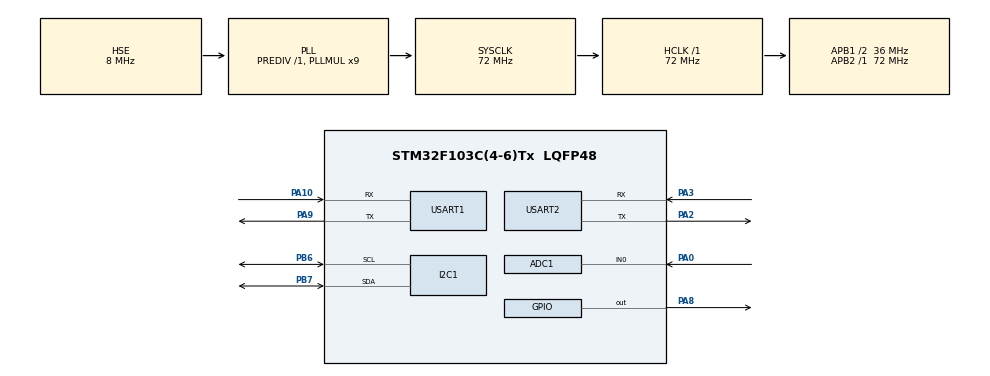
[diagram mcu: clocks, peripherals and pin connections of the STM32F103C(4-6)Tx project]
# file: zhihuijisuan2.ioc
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ADC1.Channel-0\#ChannelRegularConversion=ADC_CHANNEL_0
ADC1.NbrOfConversionFlag=1
ADC1.Rank-0\#ChannelRegularConversion=1
ADC1.SamplingTime-0\#ChannelRegularConversion=ADC_SAMPLETIME_1CYCLE_5
ADC1.master=1
Dma.Request0=USART1_RX
Dma.Request1=USART1_TX
Dma.Request2=USART2_RX
Dma.Request3=USART2_TX
Dma.USART1_RX.0.Direction=DMA_PERIPH_TO_MEMORY
Dma.USART1_RX.0.Instance=DMA1_Channel5
Dma.USART1_RX.0.MemDataAlignment=DMA_MDATAALIGN_BYTE
Dma.USART1_RX.0.MemInc=DMA_MINC_ENABLE
Dma.USART1_RX.0.Mode=DMA_NORMAL
Dma.USART1_RX.0.PeriphDataAlignment=DMA_PDATAALIGN_BYTE
Dma.USART1_RX.0.PeriphInc=DMA_PINC_DISABLE
Dma.USART1_RX.0.Priority=DMA_PRIORITY_LOW
Dma.USART1_TX.1.Direction=DMA_MEMORY_TO_PERIPH
Dma.USART1_TX.1.Instance=DMA1_Channel4
Dma.USART1_TX.1.MemDataAlignment=DMA_MDATAALIGN_BYTE
Dma.USART1_TX.1.MemInc=DMA_MINC_ENABLE
Dma.USART1_TX.1.Mode=DMA_NORMAL
Dma.USART1_TX.1.PeriphDataAlignment=DMA_PDATAALIGN_BYTE
Dma.USART1_TX.1.PeriphInc=DMA_PINC_DISABLE
Dma.USART1_TX.1.Priority=DMA_PRIORITY_LOW
Dma.USART2_RX.2.Direction=DMA_PERIPH_TO_MEMORY
Dma.USART2_RX.2.Instance=DMA1_Channel6
Dma.USART2_RX.2.MemDataAlignment=DMA_MDATAALIGN_BYTE
Dma.USART2_RX.2.MemInc=DMA_MINC_ENABLE
Dma.USART2_RX.2.Mode=DMA_NORMAL
Dma.USART2_RX.2.PeriphDataAlignment=DMA_PDATAALIGN_BYTE
Dma.USART2_RX.2.PeriphInc=DMA_PINC_DISABLE
Dma.USART2_RX.2.Priority=DMA_PRIORITY_LOW
Dma.USART2_TX.3.Direction=DMA_MEMORY_TO_PERIPH
Dma.USART2_TX.3.Instance=DMA1_Channel7
Dma.USART2_TX.3.MemDataAlignment=DMA_MDATAALIGN_BYTE
Dma.USART2_TX.3.MemInc=DMA_MINC_ENABLE
Dma.USART2_TX.3.Mode=DMA_NORMAL
Dma.USART2_TX.3.PeriphDataAlignment=DMA_PDATAALIGN_BYTE
Dma.USART2_TX.3.PeriphInc=DMA_PINC_DISABLE
Dma.USART2_TX.3.Priority=DMA_PRIORITY_LOW
Mcu.Family=STM32F1
Mcu.Name=STM32F103C(4-6)Tx
Mcu.Package=LQFP48
NVIC.DMA1_Channel4_IRQn=true\:0\:0\:false\:false\:true\:false\:true\:true
NVIC.DMA1_Channel5_IRQn=true\:0\:0\:false\:false\:true\:false\:true\:true
NVIC.DMA1_Channel6_IRQn=true\:0\:0\:false\:false\:true\:false\:true\:true
NVIC.DMA1_Channel7_IRQn=true\:0\:0\:false\:false\:true\:false\:true\:true
NVIC.PriorityGroup=NVIC_PRIORITYGROUP_4
NVIC.USART1_IRQn=true\:0\:0\:false\:false\:true\:true\:true\:true
NVIC.USART2_IRQn=true\:0\:0\:false\:false\:true\:true\:true\:true
PA0-WKUP.Signal=ADCx_IN0
PA10.Mode=Asynchronous
PA10.Signal=USART1_RX
PA13.Mode=Serial_Wire
PA13.Signal=SYS_JTMS-SWDIO
PA14.Mode=Serial_Wire
PA14.Signal=SYS_JTCK-SWCLK
PA2.Mode=Asynchronous
PA2.Signal=USART2_TX
PA3.Mode=Asynchronous
PA3.Signal=USART2_RX
PA8.Signal=GPIO_Output
PA9.Mode=Asynchronous
PA9.Signal=USART1_TX
PB6.Mode=I2C
PB6.Signal=I2C1_SCL
PB7.Mode=I2C
PB7.Signal=I2C1_SDA
PC14-OSC32_IN.Mode=LSE-External-Oscillator
PC14-OSC32_IN.Signal=RCC_OSC32_IN
PC15-OSC32_OUT.Mode=LSE-External-Oscillator
PC15-OSC32_OUT.Signal=RCC_OSC32_OUT
PD0-OSC_IN.Mode=HSE-External-Oscillator
PD0-OSC_IN.Signal=RCC_OSC_IN
PD1-OSC_OUT.Mode=HSE-External-Oscillator
PD1-OSC_OUT.Signal=RCC_OSC_OUT
ProjectManager.HeapSize=0x200
ProjectManager.StackSize=0x400
ProjectManager.TargetToolchain=CMake
RCC.ADCPresc=RCC_ADCPCLK2_DIV6
RCC.AHBFreq_Value=72000000
RCC.APB1CLKDivider=RCC_HCLK_DIV2
RCC.APB1Freq_Value=36000000
RCC.APB1TimFreq_Value=72000000
RCC.APB2Freq_Value=72000000
RCC.APB2TimFreq_Value=72000000
RCC.HCLKFreq_Value=72000000
RCC.PLLMUL=RCC_PLL_MUL9
RCC.PLLSourceVirtual=RCC_PLLSOURCE_HSE
RCC.SYSCLKFreq_VALUE=72000000
RCC.SYSCLKSource=RCC_SYSCLKSOURCE_PLLCLK
RCC.USBFreq_Value=72000000
SH.ADCx_IN0.0=ADC1_IN0,IN0
USART1.VirtualMode=VM_ASYNC
USART2.VirtualMode=VM_ASYNC
board=custom

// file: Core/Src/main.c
/* USER CODE BEGIN Header */
/**
  ******************************************************************************
  * @file           : main.c
  * @brief          : Main program body
  ******************************************************************************
  * @attention
  *
  * Copyright (c) 2026 STMicroelectronics.
  * All rights reserved.
  *
  * This software is licensed under terms that can be found in the LICENSE file
  * in the root directory of this software component.
  * If no LICENSE file comes with this software, it is provided AS-IS.
  *
  ******************************************************************************
  */
/* USER CODE END Header */
#include "main.h"
#include "adc.h"
#include "dma.h"
#include "i2c.h"
#include "usart.h"
#include "gpio.h"

/* USER CODE BEGIN Includes */
#include <string.h>
#include <stdio.h>
#include <stdlib.h>
#include <stdbool.h>
#include <stdarg.h>
#include "dht11.h"
#include "bh1750.h"
/* USER CODE END Includes */

/* USER CODE BEGIN PV */
// DMA句柄外部声明
extern DMA_HandleTypeDef hdma_usart1_rx;
extern DMA_HandleTypeDef hdma_usart1_tx;
extern DMA_HandleTypeDef hdma_usart2_rx;
extern DMA_HandleTypeDef hdma_usart2_tx;

// ==================== 串口中断透传配置 ====================
#define RX_BUFFER_SIZE    4096       // 接收环形缓冲区大小
#define TX_BUFFER_SIZE    1024        // 发送缓冲区大小

// 接收环形缓冲区（来自K210的数据）
uint8_t rx_buffer[RX_BUFFER_SIZE];
// USART2 中断发送必须使用独立副本：发送期间仍会有新图片字节写入接收环形区。
static uint8_t uart2_tx_buffer[TX_BUFFER_SIZE];
volatile uint16_t rx_head = 0;      // 缓冲区头部（写入位置）
volatile uint16_t rx_tail = 0;      // 缓冲区尾部（读取位置）
volatile uint8_t tx_busy = 0;       // USART2发送忙标志
volatile uint32_t tx_start_time = 0; // 发送开始时间（用于超时检测）
volatile uint32_t rx_overflow_count = 0; // 接收溢出计数
volatile uint32_t uart2_tc_count = 0; // USART2发送完成计数

// 图片传输检测
volatile uint8_t image_transmitting = 0; // 是否正在传输图片
volatile uint8_t jpeg_start_detected = 0; // 是否检测到JPEG起始标记
volatile uint32_t image_data_received = 0; // 已接收的图片数据长度
uint8_t uart1_rx_byte = 0; // USART1接收字节缓冲区

// 状态变化标志（在主循环中检查并输出）
volatile uint8_t image_start_flag = 0; // 图片开始标志
volatile uint8_t image_end_flag = 0;   // 图片结束标志
volatile uint32_t image_end_size = 0;  // 图片结束时的数据大小
volatile uint32_t image_start_tick = 0; // JPEG 开始时的 HAL tick，用于超时恢复
/* USER CODE END PV */

void SystemClock_Config(void);
/* USER CODE BEGIN PFP */
void forward_data_from_rx_buffer(void);
void debug_printf(const char* fmt, ...);
void sendDataToK210(uint8_t temp, uint8_t humi, uint16_t light, int soil);
void sendDataToESP(uint8_t temp, uint8_t humi, uint16_t light, int soil);
/* USER CODE END PFP */

/* USER CODE BEGIN 0 */
// 调试函数
void debug_printf(const char* fmt, ...) {
    char buffer[64];
    va_list args;
    va_start(args, fmt);
    int len = vsnprintf(buffer, sizeof(buffer), fmt, args);
    va_end(args);
    // vsnprintf 返回“本应写入”的长度，可能大于真实缓冲区，必须截断。
    if (len >= (int)sizeof(buffer)) {
        len = (int)sizeof(buffer) - 1;
    }
    if (len > 0) {
        HAL_UART_Transmit(&huart1, (uint8_t*)buffer, len, 100);
    }
}

// 发送传感器数据给 K210
void sendDataToK210(uint8_t temp, uint8_t humi, uint16_t light, int soil)
{
    char data[64];
    sprintf(data, "DATA:%d,%d,%d,%d\n", temp, humi, soil, light);
    HAL_UART_Transmit(&huart1, (uint8_t*)data, (uint16_t)strlen(data), 100);
}

// 发送传感器数据给 ESP（带 SENSOR: 前缀）
void sendDataToESP(uint8_t temp, uint8_t humi, uint16_t light, int soil)
{
    char json[200];
    /*
     * 字段名必须与接口文档一致。ESP8266 会把 createTime 的占位值替换成
     * NTP 时间，然后去掉 SENSOR: 前缀再 POST 到 /machine/machineRecord。
     */
    snprintf(json, sizeof(json),
             "SENSOR:{\"id\":1,\"airTemp\":%u,\"airHumidity\":%u,"
             "\"soilMoisture\":%d,\"lightIntensity\":%u,"
             "\"createTime\":\"1970-01-01T00:00:00.000Z\"}\n",
             (unsigned int)temp, (unsigned int)humi, soil,
             (unsigned int)light);
    HAL_UART_Transmit(&huart2, (uint8_t*)json, (uint16_t)strlen(json), 100);
}

// 从接收环形缓冲区转发数据到USART2
void forward_data_from_rx_buffer(void)
{
    // 如果USART2忙或缓冲区为空，则返回
    if (tx_busy || rx_tail == rx_head)
        return;

    // 计算可读取的数据量
    uint16_t bytes_to_send;
    if (rx_head > rx_tail)
    {
        // 简单情况：数据在连续区域
        bytes_to_send = rx_head - rx_tail;
    }
    else
    {
        // 数据被回绕：从rx_tail到缓冲区末尾
        bytes_to_send = RX_BUFFER_SIZE - rx_tail;
    }

    // 限制每次发送的数据量，避免阻塞太久
    if (bytes_to_send > TX_BUFFER_SIZE)
        bytes_to_send = TX_BUFFER_SIZE;

    // 如果bytes_to_send为0（不应该发生，但安全起见）
    if (bytes_to_send == 0)
        return;

    /*
     * 先把本次要发送的数据复制到独立缓冲区，再推进 rx_tail。
     * 如果直接把 &rx_buffer[rx_tail] 交给 HAL，在约 90 ms 的发送期间，
     * K210 新数据可能回绕并覆盖尚未发送的图片字节。
     */
    if (rx_head >= rx_tail) {
        memcpy(uart2_tx_buffer, &rx_buffer[rx_tail], bytes_to_send);
    } else {
        uint16_t first_part = RX_BUFFER_SIZE - rx_tail;
        if (first_part > bytes_to_send) {
            first_part = bytes_to_send;
        }
        memcpy(uart2_tx_buffer, &rx_buffer[rx_tail], first_part);
        if (bytes_to_send > first_part) {
            memcpy(&uart2_tx_buffer[first_part], &rx_buffer[0],
                   bytes_to_send - first_part);
        }
    }

    tx_busy = 1;
    tx_start_time = HAL_GetTick();
    HAL_StatusTypeDef status = HAL_UART_Transmit_IT(&huart2, uart2_tx_buffer, bytes_to_send);

    if (status != HAL_OK)
    {
        debug_printf("[ERROR] UART2 transmit failed: %d\n", status);
        tx_busy = 0;
        return;
    }

    // 更新尾部指针
    rx_tail = (rx_tail + bytes_to_send) % RX_BUFFER_SIZE;
    // 移除调试输出以提高性能
}
/* USER CODE END 0 */

int main(void)
{

  /* MCU Configuration--------------------------------------------------------*/

  /* Reset of all peripherals, Initializes the Flash interface and the Systick. */
  HAL_Init();

  /* Configure the system clock */
  SystemClock_Config();

  /* Initialize all configured peripherals */
  MX_GPIO_Init();
  MX_DMA_Init();
  MX_ADC1_Init();
  MX_I2C1_Init();
  MX_USART1_UART_Init();
  MX_USART2_UART_Init();
  /* USER CODE BEGIN 2 */
  uint8_t opeCode;

  DHT11_Init();
  BH1750_Init();

  opeCode = 0x10;
  BH1750_WriteOpecode(&opeCode, 1);

  // 发送启动消息
  debug_printf("[STM32] Startup - Interrupt mode, RX buffer size=%d\n", RX_BUFFER_SIZE);

  // 确保DMA被禁用（防止DMA干扰中断模式）
  HAL_DMA_DeInit(&hdma_usart1_rx);
  HAL_DMA_DeInit(&hdma_usart1_tx);
  HAL_DMA_DeInit(&hdma_usart2_rx);
  HAL_DMA_DeInit(&hdma_usart2_tx);

  // 确保USART1的DMA接收被禁用
  CLEAR_BIT(huart1.Instance->CR3, USART_CR3_DMAR);
  CLEAR_BIT(huart1.Instance->CR3, USART_CR3_DMAT);

  // 确保USART2的DMA发送被禁用
  CLEAR_BIT(huart2.Instance->CR3, USART_CR3_DMAT);

  debug_printf("[STM32] DMA disabled, starting interrupt mode\n");

  // 启动 USART1 中断接收（每个字节触发）
  HAL_UART_Receive_IT(&huart1, &uart1_rx_byte, 1);
  // 启用空闲中断（可选）
  __HAL_UART_ENABLE_IT(&huart1, UART_IT_IDLE);
  /* USER CODE END 2 */

  /* Infinite loop */
  while (1)
  {

    /* USER CODE BEGIN 3 */
    static uint32_t last_sensor_time = 0;
    static uint32_t last_status_time = 0;
    static uint32_t last_debug_time = 0;
    static uint32_t last_buffer_size = 0;
    uint8_t temp = 0, humi = 0;
    uint16_t light = 0;
    uint16_t soil_adc = 0;
    int soil = 0;

    // 检查发送超时（500ms）
    if (tx_busy && (HAL_GetTick() - tx_start_time > 500))
    {
        // 发送超时，终止底层发送并恢复状态机，避免永久卡在 tx_busy。
        debug_printf("[TIMEOUT] UART2 send timeout, resetting\n");
        HAL_UART_AbortTransmit(&huart2);
        tx_busy = 0;
        // DMA循环模式一直在运行，不需要重新启动
    }

    // 转发接收缓冲区中的数据到USART2
    forward_data_from_rx_buffer();

    // 检查图片开始/结束标志
    if (image_start_flag)
    {
        debug_printf("[IMG] Start detected\n");
        image_start_tick = HAL_GetTick();
        image_start_flag = 0;
    }

    if (image_end_flag)
    {
        debug_printf("[IMG] End detected, total %lu bytes\n", image_end_size);
        image_end_flag = 0;
        image_end_size = 0;
    }

    // 如果 JPEG 中途断开，image_transmitting 不能永久保持为 1。
    if (image_transmitting && (HAL_GetTick() - image_start_tick > 10000))
    {
        debug_printf("[IMG] Transfer stalled, state reset\n");
        image_transmitting = 0;
        jpeg_start_detected = 0;
    }

    // 每30秒报告状态
    if (HAL_GetTick() - last_status_time > 30000)
    {
        debug_printf("[STATUS] RXovfl=%lu, U2TC=%lu, busy=%d, img=%d, jpeg=%d\n",
                    rx_overflow_count, uart2_tc_count,
                    tx_busy, image_transmitting, jpeg_start_detected);
        last_status_time = HAL_GetTick();
    }

    // 每10秒快速调试输出（如果接收缓冲区有数据）
    if (HAL_GetTick() - last_debug_time > 10000)
    {
        uint16_t buffer_size = (rx_head - rx_tail) % RX_BUFFER_SIZE;

        // 只在缓冲区大小变化超过100字节或从0变为有数据时输出
        if (buffer_size > 0 && ((buffer_size > last_buffer_size ? buffer_size - last_buffer_size : last_buffer_size - buffer_size) > 100 || last_buffer_size == 0))
        {
            debug_printf("[DEBUG] RX buff: %u bytes, busy=%d, img=%d\n",
                        buffer_size, tx_busy, image_transmitting);
            last_buffer_size = buffer_size;
        }

        // 检查是否有数据卡住（缓冲区很大但不在发送）
        if (buffer_size > 2000 && !tx_busy)
        {
            debug_printf("[WARN] Large buffer (%u bytes) but not busy\n", buffer_size);
        }

        last_debug_time = HAL_GetTick();
    }

    if (HAL_GetTick() - last_sensor_time >= 5000)
    {
        // 传感器读取失败时保留上一次有效值，避免把 0 当成真实温湿度上传。
        static uint8_t last_temp = 0;
        static uint8_t last_humi = 0;
        static int last_soil = 0;

        if (DHT11_Read_Data(&temp, &humi) == 0)
        {
            last_temp = temp;
            last_humi = humi;
        }
        else
        {
            temp = last_temp;
            humi = last_humi;
        }

        light = BH1750_GetLux();

        if (HAL_ADC_Start(&hadc1) == HAL_OK &&
            HAL_ADC_PollForConversion(&hadc1, 100) == HAL_OK)
        {
            soil_adc = HAL_ADC_GetValue(&hadc1);
            soil = ((4095 - soil_adc) * 100) / 4095;
            if (soil < 0) {
                soil = 0;
            } else if (soil > 100) {
                soil = 100;
            }
            last_soil = soil;
        }
        else
        {
            soil = last_soil;
        }

        // 发送给 K210
        sendDataToK210(temp, humi, light, soil);

        // 发送给 ESP（仅当没有图片转发时）
        if (!tx_busy && !image_transmitting)
        {
            sendDataToESP(temp, humi, light, soil);
        }

        last_sensor_time = HAL_GetTick();
    }

    HAL_Delay(1);
  }
  /* USER CODE END 3 */
}

void SystemClock_Config(void)
{
  RCC_OscInitTypeDef RCC_OscInitStruct = {0};
  RCC_ClkInitTypeDef RCC_ClkInitStruct = {0};
  RCC_PeriphCLKInitTypeDef PeriphClkInit = {0};

  /** Initializes the RCC Oscillators according to the specified parameters
  * in the RCC_OscInitTypeDef structure.
  */
  RCC_OscInitStruct.OscillatorType = RCC_OSCILLATORTYPE_HSE;
  RCC_OscInitStruct.HSEState = RCC_HSE_ON;
  RCC_OscInitStruct.HSEPredivValue = RCC_HSE_PREDIV_DIV1;
  RCC_OscInitStruct.HSIState = RCC_HSI_ON;
  RCC_OscInitStruct.PLL.PLLState = RCC_PLL_ON;
  RCC_OscInitStruct.PLL.PLLSource = RCC_PLLSOURCE_HSE;
  RCC_OscInitStruct.PLL.PLLMUL = RCC_PLL_MUL9;
  if (HAL_RCC_OscConfig(&RCC_OscInitStruct) != HAL_OK)
  {
    Error_Handler();
  }

  /** Initializes the CPU, AHB and APB buses clocks
  */
  RCC_ClkInitStruct.ClockType = RCC_CLOCKTYPE_HCLK|RCC_CLOCKTYPE_SYSCLK
                              |RCC_CLOCKTYPE_PCLK1|RCC_CLOCKTYPE_PCLK2;
  RCC_ClkInitStruct.SYSCLKSource = RCC_SYSCLKSOURCE_PLLCLK;
  RCC_ClkInitStruct.AHBCLKDivider = RCC_SYSCLK_DIV1;
  RCC_ClkInitStruct.APB1CLKDivider = RCC_HCLK_DIV2;
  RCC_ClkInitStruct.APB2CLKDivider = RCC_HCLK_DIV1;

  if (HAL_RCC_ClockConfig(&RCC_ClkInitStruct, FLASH_LATENCY_2) != HAL_OK)
  {
    Error_Handler();
  }
  PeriphClkInit.PeriphClockSelection = RCC_PERIPHCLK_ADC;
  PeriphClkInit.AdcClockSelection = RCC_ADCPCLK2_DIV6;
  if (HAL_RCCEx_PeriphCLKConfig(&PeriphClkInit) != HAL_OK)
  {
    Error_Handler();
  }
}

/* USER CODE BEGIN 4 */
// USART1 接收完成回调（每个字节触发）
void HAL_UART_RxCpltCallback(UART_HandleTypeDef *huart)
{
    if (huart->Instance == USART1)
    {
        // 接收到的字节存储在uart1_rx_byte中
        uint8_t data = uart1_rx_byte;

        // 字节计数（用于调试，不在中断中输出）
        static uint32_t rx_count = 0;
        rx_count++;

        // 计算下一个写入位置
        uint16_t next_head = (rx_head + 1) % RX_BUFFER_SIZE;

        // 检查缓冲区是否已满
        if (next_head != rx_tail)
        {
            // 缓冲区未满，存入数据
            rx_buffer[rx_head] = data;
            rx_head = next_head;

            // 检测JPEG起始标记 (0xFF, 0xD8)
            static uint8_t last_byte = 0;
            if (last_byte == 0xFF && data == 0xD8)
            {
                // 检测到JPEG起始标记
                jpeg_start_detected = 1;
                image_transmitting = 1;
                image_data_received = 2; // 当前已包含 0xFF 和 0xD8 两个字节
                image_start_flag = 1; // 设置开始标志
            }
            else if (jpeg_start_detected)
            {
                image_data_received++;
            }

            // 检测JPEG结束标记 (0xFF, 0xD9)
            if (last_byte == 0xFF && data == 0xD9)
            {
                // 检测到JPEG结束标记
                if (jpeg_start_detected)
                {
                    jpeg_start_detected = 0;
                    image_transmitting = 0;
                    image_end_flag = 1; // 设置结束标志
                    image_end_size = image_data_received; // 保存图片大小
                }
            }
            last_byte = data;
        }
        else
        {
            // 缓冲区溢出
            rx_overflow_count++;
            // 不在中断中输出错误信息，只增加计数
        }

        // 重新启动接收，等待下一个字节（使用同一个缓冲区）
        HAL_UART_Receive_IT(&huart1, &uart1_rx_byte, 1);
    }
}

// 串口溢出导致 HAL 接收停摆时，主动重新启动单字节接收。
void HAL_UART_ErrorCallback(UART_HandleTypeDef *huart)
{
    if (huart->Instance == USART1)
    {
        HAL_UART_AbortReceive(huart);
        HAL_UART_Receive_IT(huart, &uart1_rx_byte, 1);
    }
}

// USART2 发送完成回调
void HAL_UART_TxCpltCallback(UART_HandleTypeDef *huart)
{
    if (huart->Instance == USART2)
    {
        uart2_tc_count++;  // 增加发送完成计数
        tx_busy = 0;  // 允许下一次发送
        // 不在中断中输出调试信息
    }
}

/* USER CODE END 4 */

void Error_Handler(void)
{
  __disable_irq();
  while (1)
  {
  }
}
